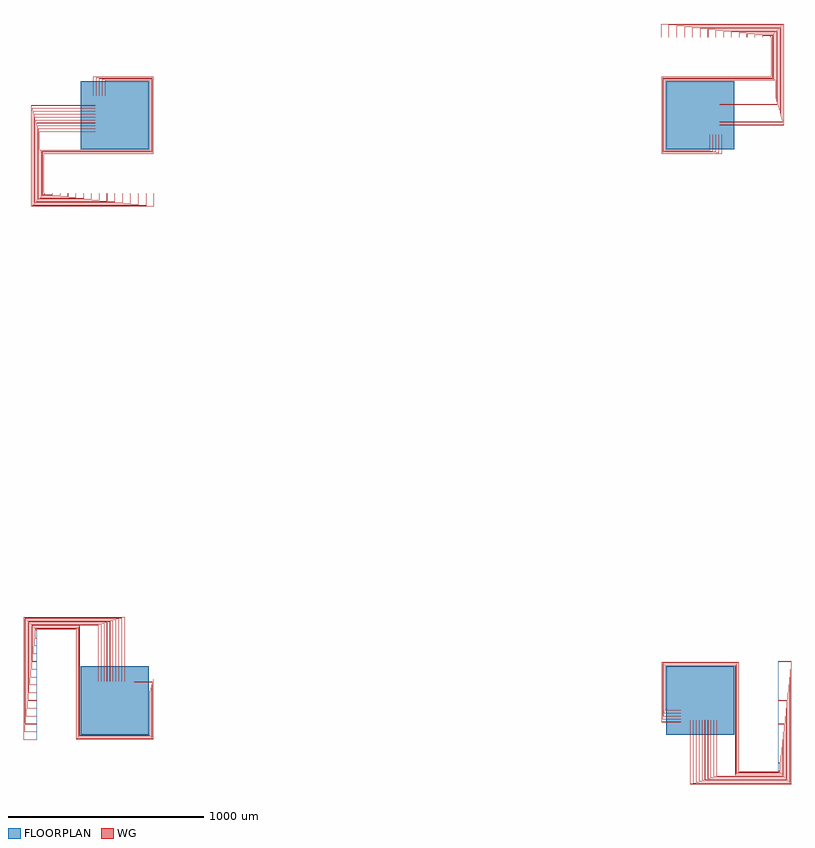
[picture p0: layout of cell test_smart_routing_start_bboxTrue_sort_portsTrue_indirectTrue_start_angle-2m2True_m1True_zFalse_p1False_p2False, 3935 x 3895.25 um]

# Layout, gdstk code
import gdstk
lib = gdstk.Library(unit=1e-6, precision=1e-09)
def R(c, l, rs):  # rectangles x0, y0, x1, y1
    for r in rs: c.add(gdstk.rectangle(r[:2], r[2:], *l))
def P(c, l, *ps):  # polygons
    for p in ps: c.add(gdstk.Polygon(p, *l))
WG = (1, 0)
FLOORPLAN = (10, 0)

test_smart_routing_start = lib.new_cell('test_smart_routing_start_bboxTrue_sort_portsTrue_indirectTrue_start_angle-2m2True_m1True_zFalse_p1False_p2False')
P(test_smart_routing_start, WG, [(-467.5,-200.25),(-467.5,427.75),(50.25,427.75),(50.25,100),(49.75,100),(49.75,427.25),(-467,427.25),(-467,-199.75),(-400,-199.75),(-400,-200.25)],
  [(-463,-160.25),(-463,423.25),(35.25,423.25),(35.25,100),(34.75,100),(34.75,422.75),(-462.5,422.75),(-462.5,-159.75),(-400,-159.75),(-400,-160.25)],
  [(-458.5,-120.25),(-458.5,418.75),(20.25,418.75),(20.25,100),(19.75,100),(19.75,418.25),(-458,418.25),(-458,-119.75),(-400,-119.75),(-400,-120.25)],
  [(-454,-80.25),(-454,414.25),(5.25,414.25),(5.25,100),(4.75,100),(4.75,413.75),(-453.5,413.75),(-453.5,-79.75),(-400,-79.75),(-400,-80.25)],
  [(-449.5,-40.25),(-449.5,409.75),(-9.75,409.75),(-9.75,100),(-10.25,100),(-10.25,409.25),(-449,409.25),(-449,-39.75),(-400,-39.75),(-400,-40.25)],
  [(-445,-0.25),(-445,405.25),(-24.75,405.25),(-24.75,100),(-25.25,100),(-25.25,404.75),(-444.5,404.75),(-444.5,0.25),(-400,0.25),(-400,-0.25)],
  [(-440.5,39.75),(-440.5,400.75),(-39.75,400.75),(-39.75,100),(-40.25,100),(-40.25,400.25),(-440,400.25),(-440,40.25),(-400,40.25),(-400,39.75)],
  [(-436,79.75),(-436,396.25),(-54.75,396.25),(-54.75,100),(-55.25,100),(-55.25,395.75),(-435.5,395.75),(-435.5,80.25),(-400,80.25),(-400,79.75)],
  [(-70.25,100),(-70.25,391.25),(-431,391.25),(-431,120.25),(-400,120.25),(-400,119.75),(-431.5,119.75),(-431.5,391.75),(-69.75,391.75),(-69.75,100)],
  [(-85.25,100),(-85.25,386.75),(-426.5,386.75),(-426.5,160.25),(-400,160.25),(-400,159.75),(-427,159.75),(-427,387.25),(-84.75,387.25),(-84.75,100)],
  [(-179.5,-179.5),(-179.5,382.25),(-422,382.25),(-422,200.25),(-400,200.25),(-400,199.75),(-422.5,199.75),(-422.5,382.75),(-179,382.75),(-179,-179),(179,-179),(179,49.75),(100,49.75),(100,50.25),(179.5,50.25),(179.5,-179.5)],
  [(-184,-184),(-184,377.75),(-417.5,377.75),(-417.5,240.25),(-400,240.25),(-400,239.75),(-418,239.75),(-418,378.25),(-183.5,378.25),(-183.5,-183.5),(183.5,-183.5),(183.5,64.75),(100,64.75),(100,65.25),(184,65.25),(184,-184)],
  [(-188.5,-188.5),(-188.5,373.25),(-413,373.25),(-413,280.25),(-400,280.25),(-400,279.75),(-413.5,279.75),(-413.5,373.75),(-188,373.75),(-188,-188),(188,-188),(188,79.75),(100,79.75),(100,80.25),(188.5,80.25),(188.5,-188.5)],
  [(-193,-193),(-193,368.75),(-408.5,368.75),(-408.5,320.25),(-400,320.25),(-400,319.75),(-409,319.75),(-409,369.25),(-192.5,369.25),(-192.5,-192.5),(192.5,-192.5),(192.5,94.75),(100,94.75),(100,95.25),(193,95.25),(193,-193)],
  [(-197.5,-197.5),(-197.5,364.25),(-404,364.25),(-404,360.25),(-400,360.25),(-400,359.75),(-404.5,359.75),(-404.5,364.75),(-197,364.75),(-197,-197),(197,-197),(197,109.75),(100,109.75),(100,110.25),(197.5,110.25),(197.5,-197.5)],
  [(-427.75,2532.5),(-427.75,3050.25),(-100,3050.25),(-100,3049.75),(-427.25,3049.75),(-427.25,2533),(199.75,2533),(199.75,2600),(200.25,2600),(200.25,2532.5)],
  [(-423.25,2537),(-423.25,3035.25),(-100,3035.25),(-100,3034.75),(-422.75,3034.75),(-422.75,2537.5),(159.75,2537.5),(159.75,2600),(160.25,2600),(160.25,2537)],
  [(-418.75,2541.5),(-418.75,3020.25),(-100,3020.25),(-100,3019.75),(-418.25,3019.75),(-418.25,2542),(119.75,2542),(119.75,2600),(120.25,2600),(120.25,2541.5)],
  [(-414.25,2546),(-414.25,3005.25),(-100,3005.25),(-100,3004.75),(-413.75,3004.75),(-413.75,2546.5),(79.75,2546.5),(79.75,2600),(80.25,2600),(80.25,2546)],
  [(-409.75,2550.5),(-409.75,2990.25),(-100,2990.25),(-100,2989.75),(-409.25,2989.75),(-409.25,2551),(39.75,2551),(39.75,2600),(40.25,2600),(40.25,2550.5)],
  [(-405.25,2555),(-405.25,2975.25),(-100,2975.25),(-100,2974.75),(-404.75,2974.75),(-404.75,2555.5),(-0.25,2555.5),(-0.25,2600),(0.25,2600),(0.25,2555)],
  [(-400.75,2559.5),(-400.75,2960.25),(-100,2960.25),(-100,2959.75),(-400.25,2959.75),(-400.25,2560),(-40.25,2560),(-40.25,2600),(-39.75,2600),(-39.75,2559.5)],
  [(-396.25,2564),(-396.25,2945.25),(-100,2945.25),(-100,2944.75),(-395.75,2944.75),(-395.75,2564.5),(-80.25,2564.5),(-80.25,2600),(-79.75,2600),(-79.75,2564)],
  [(-391.75,2568.5),(-391.75,2930.25),(-100,2930.25),(-100,2929.75),(-391.25,2929.75),(-391.25,2569),(-120.25,2569),(-120.25,2600),(-119.75,2600),(-119.75,2568.5)],
  [(-387.25,2573),(-387.25,2915.25),(-100,2915.25),(-100,2914.75),(-386.75,2914.75),(-386.75,2573.5),(-160.25,2573.5),(-160.25,2600),(-159.75,2600),(-159.75,2573)],
  [(-382.75,2577.5),(-382.75,2821),(179,2821),(179,3179),(-49.75,3179),(-49.75,3100),(-50.25,3100),(-50.25,3179.5),(179.5,3179.5),(179.5,2820.5),(-382.25,2820.5),(-382.25,2578),(-200.25,2578),(-200.25,2600),(-199.75,2600),(-199.75,2577.5)],
  [(-378.25,2582),(-378.25,2816.5),(183.5,2816.5),(183.5,3183.5),(-64.75,3183.5),(-64.75,3100),(-65.25,3100),(-65.25,3184),(184,3184),(184,2816),(-377.75,2816),(-377.75,2582.5),(-240.25,2582.5),(-240.25,2600),(-239.75,2600),(-239.75,2582)],
  [(-373.75,2586.5),(-373.75,2812),(188,2812),(188,3188),(-79.75,3188),(-79.75,3100),(-80.25,3100),(-80.25,3188.5),(188.5,3188.5),(188.5,2811.5),(-373.25,2811.5),(-373.25,2587),(-280.25,2587),(-280.25,2600),(-279.75,2600),(-279.75,2586.5)],
  [(-369.25,2591),(-369.25,2807.5),(192.5,2807.5),(192.5,3192.5),(-94.75,3192.5),(-94.75,3100),(-95.25,3100),(-95.25,3193),(193,3193),(193,2807),(-368.75,2807),(-368.75,2591.5),(-320.25,2591.5),(-320.25,2600),(-319.75,2600),(-319.75,2591)],
  [(-364.75,2595.5),(-364.75,2803),(197,2803),(197,3197),(-109.75,3197),(-109.75,3100),(-110.25,3100),(-110.25,3197.5),(197.5,3197.5),(197.5,2802.5),(-364.25,2802.5),(-364.25,2596),(-360.25,2596),(-360.25,2600),(-359.75,2600),(-359.75,2595.5)],
  [(2949.75,-427.75),(2949.75,-100),(2950.25,-100),(2950.25,-427.25),(3467,-427.25),(3467,199.75),(3400,199.75),(3400,200.25),(3467.5,200.25),(3467.5,-427.75)],
  [(2964.75,-423.25),(2964.75,-100),(2965.25,-100),(2965.25,-422.75),(3462.5,-422.75),(3462.5,159.75),(3400,159.75),(3400,160.25),(3463,160.25),(3463,-423.25)],
  [(2979.75,-418.75),(2979.75,-100),(2980.25,-100),(2980.25,-418.25),(3458,-418.25),(3458,119.75),(3400,119.75),(3400,120.25),(3458.5,120.25),(3458.5,-418.75)],
  [(2994.75,-414.25),(2994.75,-100),(2995.25,-100),(2995.25,-413.75),(3453.5,-413.75),(3453.5,79.75),(3400,79.75),(3400,80.25),(3454,80.25),(3454,-414.25)],
  [(3009.75,-409.75),(3009.75,-100),(3010.25,-100),(3010.25,-409.25),(3449,-409.25),(3449,39.75),(3400,39.75),(3400,40.25),(3449.5,40.25),(3449.5,-409.75)],
  [(3024.75,-405.25),(3024.75,-100),(3025.25,-100),(3025.25,-404.75),(3444.5,-404.75),(3444.5,-0.25),(3400,-0.25),(3400,0.25),(3445,0.25),(3445,-405.25)],
  [(3039.75,-400.75),(3039.75,-100),(3040.25,-100),(3040.25,-400.25),(3440,-400.25),(3440,-40.25),(3400,-40.25),(3400,-39.75),(3440.5,-39.75),(3440.5,-400.75)],
  [(3054.75,-396.25),(3054.75,-100),(3055.25,-100),(3055.25,-395.75),(3435.5,-395.75),(3435.5,-80.25),(3400,-80.25),(3400,-79.75),(3436,-79.75),(3436,-396.25)],
  [(3069.75,-391.75),(3069.75,-100),(3070.25,-100),(3070.25,-391.25),(3431,-391.25),(3431,-120.25),(3400,-120.25),(3400,-119.75),(3431.5,-119.75),(3431.5,-391.75)],
  [(3084.75,-387.25),(3084.75,-100),(3085.25,-100),(3085.25,-386.75),(3426.5,-386.75),(3426.5,-160.25),(3400,-160.25),(3400,-159.75),(3427,-159.75),(3427,-387.25)],
  [(3179,-382.75),(3179,179),(2821,179),(2821,-49.75),(2900,-49.75),(2900,-50.25),(2820.5,-50.25),(2820.5,179.5),(3179.5,179.5),(3179.5,-382.25),(3422,-382.25),(3422,-200.25),(3400,-200.25),(3400,-199.75),(3422.5,-199.75),(3422.5,-382.75)],
  [(3183.5,-378.25),(3183.5,183.5),(2816.5,183.5),(2816.5,-64.75),(2900,-64.75),(2900,-65.25),(2816,-65.25),(2816,184),(3184,184),(3184,-377.75),(3417.5,-377.75),(3417.5,-240.25),(3400,-240.25),(3400,-239.75),(3418,-239.75),(3418,-378.25)],
  [(3188,-373.75),(3188,188),(2812,188),(2812,-79.75),(2900,-79.75),(2900,-80.25),(2811.5,-80.25),(2811.5,188.5),(3188.5,188.5),(3188.5,-373.25),(3413,-373.25),(3413,-280.25),(3400,-280.25),(3400,-279.75),(3413.5,-279.75),(3413.5,-373.75)],
  [(3192.5,-369.25),(3192.5,192.5),(2807.5,192.5),(2807.5,-94.75),(2900,-94.75),(2900,-95.25),(2807,-95.25),(2807,193),(3193,193),(3193,-368.75),(3408.5,-368.75),(3408.5,-320.25),(3400,-320.25),(3400,-319.75),(3409,-319.75),(3409,-369.25)],
  [(3197,-364.75),(3197,197),(2803,197),(2803,-109.75),(2900,-109.75),(2900,-110.25),(2802.5,-110.25),(2802.5,197.5),(3197.5,197.5),(3197.5,-364.25),(3404,-364.25),(3404,-360.25),(3400,-360.25),(3400,-359.75),(3404.5,-359.75),(3404.5,-364.75)],
  [(3100,2949.75),(3100,2950.25),(3427.25,2950.25),(3427.25,3467),(2800.25,3467),(2800.25,3400),(2799.75,3400),(2799.75,3467.5),(3427.75,3467.5),(3427.75,2949.75)],
  [(3100,2964.75),(3100,2965.25),(3422.75,2965.25),(3422.75,3462.5),(2840.25,3462.5),(2840.25,3400),(2839.75,3400),(2839.75,3463),(3423.25,3463),(3423.25,2964.75)],
  [(3100,2979.75),(3100,2980.25),(3418.25,2980.25),(3418.25,3458),(2880.25,3458),(2880.25,3400),(2879.75,3400),(2879.75,3458.5),(3418.75,3458.5),(3418.75,2979.75)],
  [(3100,2994.75),(3100,2995.25),(3413.75,2995.25),(3413.75,3453.5),(2920.25,3453.5),(2920.25,3400),(2919.75,3400),(2919.75,3454),(3414.25,3454),(3414.25,2994.75)],
  [(3100,3009.75),(3100,3010.25),(3409.25,3010.25),(3409.25,3449),(2960.25,3449),(2960.25,3400),(2959.75,3400),(2959.75,3449.5),(3409.75,3449.5),(3409.75,3009.75)],
  [(3100,3024.75),(3100,3025.25),(3404.75,3025.25),(3404.75,3444.5),(3000.25,3444.5),(3000.25,3400),(2999.75,3400),(2999.75,3445),(3405.25,3445),(3405.25,3024.75)],
  [(3100,3039.75),(3100,3040.25),(3400.25,3040.25),(3400.25,3440),(3040.25,3440),(3040.25,3400),(3039.75,3400),(3039.75,3440.5),(3400.75,3440.5),(3400.75,3039.75)],
  [(3100,3054.75),(3100,3055.25),(3395.75,3055.25),(3395.75,3435.5),(3080.25,3435.5),(3080.25,3400),(3079.75,3400),(3079.75,3436),(3396.25,3436),(3396.25,3054.75)],
  [(3100,3069.75),(3100,3070.25),(3391.25,3070.25),(3391.25,3431),(3120.25,3431),(3120.25,3400),(3119.75,3400),(3119.75,3431.5),(3391.75,3431.5),(3391.75,3069.75)],
  [(3100,3084.75),(3100,3085.25),(3386.75,3085.25),(3386.75,3426.5),(3160.25,3426.5),(3160.25,3400),(3159.75,3400),(3159.75,3427),(3387.25,3427),(3387.25,3084.75)],
  [(2820.5,2820.5),(2820.5,3179.5),(3382.25,3179.5),(3382.25,3422),(3200.25,3422),(3200.25,3400),(3199.75,3400),(3199.75,3422.5),(3382.75,3422.5),(3382.75,3179),(2821,3179),(2821,2821),(3049.75,2821),(3049.75,2900),(3050.25,2900),(3050.25,2820.5)],
  [(2816,2816),(2816,3184),(3377.75,3184),(3377.75,3417.5),(3240.25,3417.5),(3240.25,3400),(3239.75,3400),(3239.75,3418),(3378.25,3418),(3378.25,3183.5),(2816.5,3183.5),(2816.5,2816.5),(3064.75,2816.5),(3064.75,2900),(3065.25,2900),(3065.25,2816)],
  [(2811.5,2811.5),(2811.5,3188.5),(3373.25,3188.5),(3373.25,3413),(3280.25,3413),(3280.25,3400),(3279.75,3400),(3279.75,3413.5),(3373.75,3413.5),(3373.75,3188),(2812,3188),(2812,2812),(3079.75,2812),(3079.75,2900),(3080.25,2900),(3080.25,2811.5)],
  [(2807,2807),(2807,3193),(3368.75,3193),(3368.75,3408.5),(3320.25,3408.5),(3320.25,3400),(3319.75,3400),(3319.75,3409),(3369.25,3409),(3369.25,3192.5),(2807.5,3192.5),(2807.5,2807.5),(3094.75,2807.5),(3094.75,2900),(3095.25,2900),(3095.25,2807)],
  [(2802.5,2802.5),(2802.5,3197.5),(3364.25,3197.5),(3364.25,3404),(3360.25,3404),(3360.25,3400),(3359.75,3400),(3359.75,3404.5),(3364.75,3404.5),(3364.75,3197),(2803,3197),(2803,2803),(3109.75,2803),(3109.75,2900),(3110.25,2900),(3110.25,2802.5)])
R(test_smart_routing_start, FLOORPLAN, [(-175,-175,175,175), (2825,-175,3175,175), (-175,2825,175,3175), (2825,2825,3175,3175)])
P(test_smart_routing_start, FLOORPLAN, [(-400,-200),(-400,360),(-400,360),(-400,-200)],
  [(-360,2600),(-360,2600),(200,2600),(200,2600)],
  [(3400,-360),(3400,200),(3400,200),(3400,-360)],
  [(2800,3400),(2800,3400),(3360,3400),(3360,3400)])

lib.write_gds('test_smart_routing_start_bboxTrue_sort_portsTrue_indirectTrue_start_angle-2m2True_m1True_zFalse_p1False_p2False.gds')
